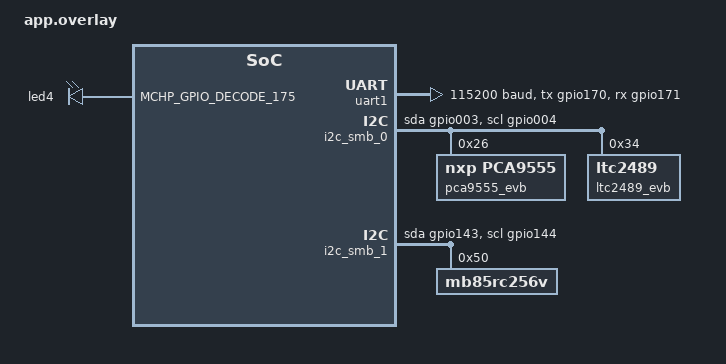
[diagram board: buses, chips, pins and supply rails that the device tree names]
/*
 * Copyright (c) 2024 Microchip Technology Inc.
 *
 * SPDX-License-Identifier: Apache-2.0
 */

#include <zephyr/dt-bindings/gpio/gpio.h>
#include <zephyr/dt-bindings/gpio/microchip-xec-gpio.h>

/*
 * MEC5_ASSY6941
 * JP7 2-3 GPIO055 pulled-down via 10K to ground.
 * JP23 14-15 selects GPIO055 as SHD_nCS0
 * JP42 1-2 connects 1.8V
 * JP60 2-3 VTR2 is powered by 1.8V
 * NOTE: VTR3 is always 1.8V
 *
 * Boot-ROM GPIO055 as RSMRST#
 * GPIO Control register value = 0x0200
 * Output, push-pull, driver low, no internal pulls,
 * interrupt detection = level low, alternate out enabled.
 * ROM drives pin high(inactive) using alternate out (bit[16] of control register)
 * Control register = 0x10200
 *
 * GPIO175/CMP_VOUT1/PWM8_ALT on schematic, LED4 on silkscreen.
 *
 * I2C00_SDA/SCL = GPIO003/004
 * Install Jumper JP15 4-5 to route GPIO004 as I2C00_SCL/UART2_DCD
 * Install Jumper JP15 7-8 to route GPIO003 as I2C00_SDA/UART2_RI
 * Install Jumper JP27 34-35 to select I2C00_SDA
 * Install Jumper JP27 31-32 to select I2C00_SCL
 * Install Jumper JP70 19-20 7.5K pull-up to VTR1 for I2C00_SDA
 * Install Jumper JP70 21-22 7.5K pull-up to VTR1 for I2C00_SCL
 *
 * U4 is PCA9555 I2C GPIO expander
 * JP52 1-2 use +3.3V_STBY
 * JP61 1-2, 3-4 connect I2C00_SCL and I2C00_SDA to EXTERNAL_SCLK/SDATA
 * JP55 selects I2C address
 * 1-2 = A0, 3-4 = A1, 5-6 = A2 all pull-up by default. Install jumper to ground signals.
 * Installed jumper on JP55 1-2. I2C Address = 0x26
 *
 * U19 is LTC2489 I2C 4-channel delta-sigma ADC
 * Address select pins CA0, CA1 both pulled high. Install jumpers to ground signals.
 * Installed jumpers on JP124 1-2 and 3-4. I2C Address = 0x34
 *
 * Attached Fujitsu MB85RC256V I2C FRAM demo board to 6-pin header J10
 * AdaFruit I2C FRAM breakout board.
 * NOTE: removed demo board 1K pulls on SCL and SDA. Using EVB pulls on SCL/SDA.
 * This device allows testing of larger I2C messages and breaking up large transactions
 * into multiple message buffers.
 * FRAM board power -> J10-5 VTR1 (3.3V)
 * FRAM board GND   -> J10-6 GND
 * FRAM board SCL   -> J10-1 I2C00_SCL
 * FRAM board SDA   -> J10-3 I2C00_SDA
 * FRAM address pins A0, A1, A2 are internally pulled-down.
 * I2C Address = 1010_A2_A1_A0 = 0x50 (default)
 *
 * I2C Port 4 is on VTR1
 * JP20 3x4
 *  1-2 GPIO144 I2C04_SCL
 *  4-5 GPIO143 I2C04_SDA
 *
 * JP21 3x16
 *  13-14 GPIO144 I2C04_SCL
 *  25-26 GPIO143 I2C04_SDA
 *
 * pull-ups
 * JP71 25-26 connect 7.5K pull-up to VTR1
 * JP71 27-28 connect 7.5K pull-up to VTR1
 *
 * 1x6 header J17
 * 1 = I2C04_SCL
 * 2, 6 = GND
 * 3 = I2C04_SDA
 * 4 = NC
 * 5 = VTR1
 */

/ {
	chosen {
		zephyr,console = &uart1;
	};

	aliases {
		spi0 = &qspi0;
		led0 = &led4;
		i2c0 = &i2c_smb_0;
		i2c-0 = &i2c_smb_0;
		i2c-nl-0 = &i2c_smb_1;
	};

	leds {
		compatible = "gpio-leds";
		led4: led_0 {
			gpios = <MCHP_GPIO_DECODE_175 GPIO_ACTIVE_HIGH>;
		};
	};

	/* vci-pos is the bit position of the VCI_IN pin in the VCI registers
	 * vci-polarity use enum strings "Active_Low" or "Active_High"
	 * vci-latch-enable is a boolean. If present the VCI_IN at vci-pos latch is enable
	 * If not present the latching of the pin is disabled.
	 */
	hibernate_vci_pins {
		compatible = "microchip,ec-hibernate-vci";

		vci_input1: vci_input_1 {
			#gpio-cells=<2>;
			gpios = <MCHP_GPIO_DECODE_162 0>;
			vci-pos = <1>;
			vci-polarity = "Active_Low";
		};

		vci_input2: vci_input_2 {
			#gpio-cells=<2>;
			gpios = <MCHP_GPIO_DECODE_161 0>;
			vci-pos = <2>;
			vci-polarity = "Active_High";
			vci-latch-enable;
		};

		vci_input3: vci_input_3 {
			#gpio-cells=<2>;
			gpios = <MCHP_GPIO_DECODE_000 0>;
			vci-pos = <3>;
			vci-polarity = "Active_Low";
		};
	};
};

&dmac {
	status = "okay";
};

&i2c00_scl_gpio004 {
	drive-open-drain;
	output-enable;
	output-high;
	drive-strength = "4x";
};

&i2c00_sda_gpio003 {
	drive-open-drain;
	output-enable;
	output-high;
	drive-strength = "4x";
};

&uart1 {
	current-speed = <115200>;
	status = "okay";
	pinctrl-0 = <&uart1_tx_gpio170 &uart1_rx_gpio171>;
	pinctrl-names = "default";
};

&i2c_smb_0 {
	compatible = "microchip,mec5-i2c";
	status = "okay";
	port_sel = < 0 >;
	sda-gpios = < MCHP_GPIO_DECODE_003 0 >;
	scl-gpios = < MCHP_GPIO_DECODE_004 0 >;
	pinctrl-0 = < &i2c00_sda_gpio003 &i2c00_scl_gpio004 >;
	pinctrl-names = "default";

	pca9555_evb: pca9555@26 {
		/* Zephyr will load NXP PCA9555 driver after MEC5 I2C because it calls MEC5 I2C during init */
		compatible = "nxp,pca9555";
		reg = <0x26>;
		gpio-controller;
		#gpio-cells = <2>;
	};

	ltc2489_evb: ltc2489@34 {
		/* No Zephyr driver exists */
		reg = <0x34>;
		#io-channels-cells = <1>;
	};
};

&i2c_smb_1 {
	compatible = "microchip,mec5-i2c-nl";
	status = "okay";
	port_sel = < 4 >;
	sda-gpios = < MCHP_GPIO_DECODE_143 0 >;
	scl-gpios = < MCHP_GPIO_DECODE_144 0 >;
	pinctrl-0 = < &i2c04_sda_gpio143 &i2c04_scl_gpio144 >;
	pinctrl-names = "default";
	dmas = <&dmac 2 0x3>, <&dmac 3 0x2>;
	dma-names = "cm", "tm";
	target-addrs = <0x31>, <0x32>;

	/* External Fujitsu MB85RC256V 256KB (32K x 8) FRAM */
	mb85rc256v: mb85rc256v@50 {
		/* No Zephyr driver exists */
		reg = <0x50>;
	};
};
